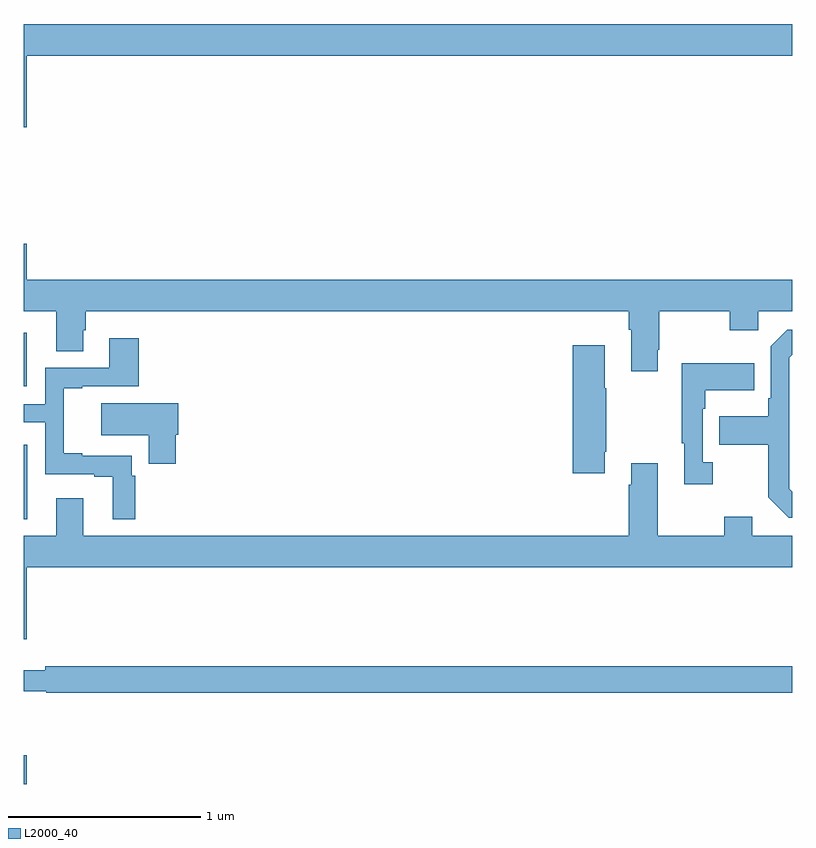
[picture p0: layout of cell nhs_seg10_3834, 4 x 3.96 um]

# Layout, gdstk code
import gdstk
lib = gdstk.Library(unit=1e-6, precision=1e-09)
def R(c, l, rs):  # rectangles x0, y0, x1, y1
    for r in rs: c.add(gdstk.rectangle(r[:2], r[2:], *l))
def P(c, l, *ps):  # polygons
    for p in ps: c.add(gdstk.Polygon(p, *l))
L2000_40 = (2000, 40)

nhs_seg10_3834 = lib.new_cell('nhs_seg10_3834')
R(nhs_seg10_3834, L2000_40, [(321,1320.5,321.016,1320.649), (321,1321.877,321.019,1322.265), (321,1322.571,321.016,1322.848)])
P(nhs_seg10_3834, L2000_40, [(321.016,1324.292),(325,1324.292),(325,1324.456),(321,1324.456),(321,1323.918),(321.016,1323.918)],
  [(324.301,1322.761),(324.309,1322.761),(324.309,1322.96),(324.676,1322.96),(324.676,1322.861),(324.822,1322.861),(324.822,1322.96),(325,1322.96),(325,1323.124),(321.016,1323.124),(321.016,1323.313),(321,1323.313),(321,1322.96),(321.17,1322.96),(321.17,1322.752),(321.31,1322.752),(321.31,1322.862),(321.323,1322.862),(321.323,1322.96),(324.149,1322.96),(324.149,1322.864),(324.161,1322.864),(324.161,1322.649),(324.301,1322.649)],
  [(325,1322.021),(324.984,1322.037),(324.984,1322.718),(325,1322.734),(325,1322.865),(324.975,1322.865),(324.888,1322.778),(324.888,1322.509),(324.876,1322.509),(324.876,1322.413),(324.619,1322.413),(324.619,1322.266),(324.876,1322.266),(324.876,1321.993),(324.981,1321.887),(325,1321.887)],
  [(321.581,1322.105),(321.561,1322.105),(321.561,1322.208),(321.304,1322.208),(321.304,1322.221),(321.209,1322.221),(321.209,1322.559),(321.304,1322.559),(321.304,1322.571),(321.599,1322.571),(321.599,1322.821),(321.446,1322.821),(321.446,1322.667),(321.111,1322.667),(321.111,1322.478),(321,1322.478),(321,1322.382),(321.111,1322.382),(321.111,1322.112),(321.368,1322.112),(321.368,1322.1),(321.464,1322.1),(321.464,1321.877),(321.581,1321.877)],
  [(324.025,1322.23),(324.033,1322.23),(324.033,1322.561),(324.025,1322.561),(324.025,1322.785),(323.858,1322.785),(323.858,1322.118),(324.025,1322.118)],
  [(324.586,1322.174),(324.534,1322.174),(324.534,1322.453),(324.547,1322.453),(324.547,1322.549),(324.803,1322.549),(324.803,1322.689),(324.426,1322.689),(324.426,1322.273),(324.437,1322.273),(324.437,1322.061),(324.586,1322.061)],
  [(321.791,1322.319),(321.803,1322.319),(321.803,1322.482),(321.402,1322.482),(321.402,1322.315),(321.65,1322.315),(321.65,1322.166),(321.791,1322.166)],
  [(321,1321.254),(321.016,1321.254),(321.016,1321.628),(325,1321.628),(325,1321.792),(324.793,1321.792),(324.793,1321.891),(324.646,1321.891),(324.646,1321.792),(324.301,1321.792),(324.301,1322.17),(324.161,1322.17),(324.161,1322.057),(324.149,1322.057),(324.149,1321.792),(321.31,1321.792),(321.31,1321.987),(321.17,1321.987),(321.17,1321.792),(321,1321.792)],
  [(325,1321.112),(321.112,1321.112),(321.112,1321.093),(321,1321.093),(321,1320.984),(321.116,1320.984),(321.116,1320.976),(325,1320.976)])

lib.write_gds('nhs_seg10_3834.gds')
